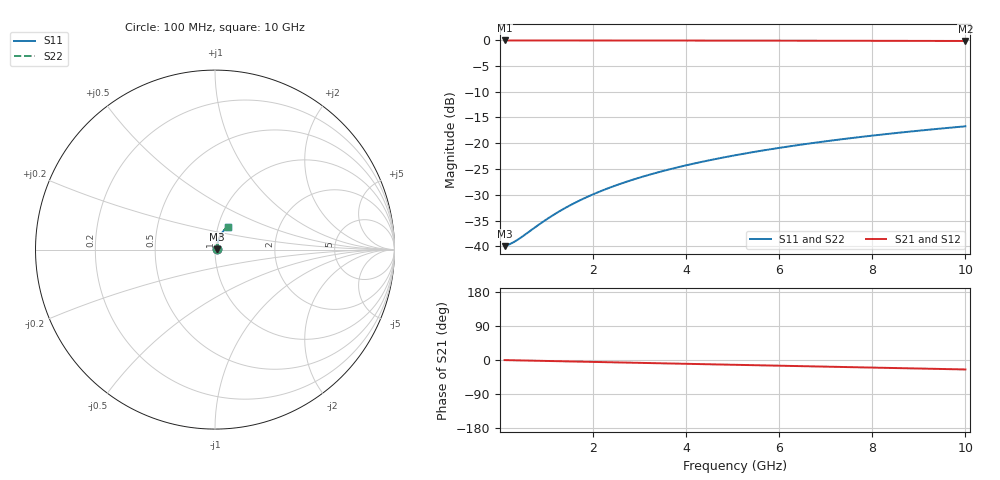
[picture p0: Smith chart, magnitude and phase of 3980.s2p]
# Hz S RI R 50.00
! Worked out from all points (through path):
!   100 points, 100 MHz to 10 GHz, reference 50 ohm
!   highest |S21| = -0.09 dB at 100 MHz (marker M1); lowest = -0.2 dB at 10 GHz (marker M2)
!   group delay of S21, straight-line fit = 6.94 ps
!   lowest |S11| = -40.0 dB at 100 MHz (marker M3), VSWR 1.02, Z = 51 + j0.15 ohm
!   |S11| at or under -10 dB: start of sweep to end of sweep
!   |S22| runs from -40.0 to -16.7 dB; largest |S21 - S12| = 0
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1e8  0.00993 0.00147  0.9901 -0.00434  0.9901 -0.00434  0.00993 0.00147
2e8  0.01 0.00294  0.99 -0.00868  0.99 -0.00868  0.01 0.00294
3e8  0.0101 0.0044  0.9899 -0.013  0.9899 -0.013  0.0101 0.0044
4e8  0.0102 0.00587  0.9898 -0.0174  0.9898 -0.0174  0.0102 0.00587
9e8  0.0107 0.0132  0.9889 -0.039  0.9889 -0.039  0.0107 0.0132
1.2e9  0.0112 0.0176  0.9882 -0.052  0.9882 -0.052  0.0112 0.0176
1.5e9  0.0118 0.0219  0.9873 -0.065  0.9873 -0.065  0.0118 0.0219
1.8e9  0.0124 0.0263  0.9862 -0.078  0.9862 -0.078  0.0124 0.0263
2.1e9  0.0132 0.0306  0.9849 -0.0909  0.9849 -0.0909  0.0132 0.0306
2.5e9  0.0144 0.0363  0.9829 -0.1081  0.9829 -0.1081  0.0144 0.0363
2.9e9  0.0159 0.042  0.9806 -0.1253  0.9806 -0.1253  0.0159 0.042
3.4e9  0.0179 0.049  0.9772 -0.1467  0.9772 -0.1467  0.0179 0.049
3.8e9  0.0198 0.0546  0.9741 -0.1637  0.9741 -0.1637  0.0198 0.0546
4.2e9  0.0218 0.06  0.9707 -0.1806  0.9707 -0.1806  0.0218 0.06
4.6e9  0.0241 0.0654  0.967 -0.1975  0.967 -0.1975  0.0241 0.0654
5.1e9  0.0271 0.072  0.9619 -0.2184  0.9619 -0.2184  0.0271 0.072
5.9e9  0.0326 0.0823  0.9527 -0.2515  0.9527 -0.2515  0.0326 0.0823
6.7e9  0.0388 0.0922  0.9423 -0.2842  0.9423 -0.2842  0.0388 0.0922
7.5e9  0.0456 0.1015  0.9307 -0.3164  0.9307 -0.3164  0.0456 0.1015
8.4e9  0.0541 0.1115  0.9163 -0.3519  0.9163 -0.3519  0.0541 0.1115
9.2e9  0.0622 0.1197  0.9022 -0.3828  0.9022 -0.3828  0.0622 0.1197
1e10  0.0708 0.1273  0.8871 -0.413  0.8871 -0.413  0.0708 0.1273
